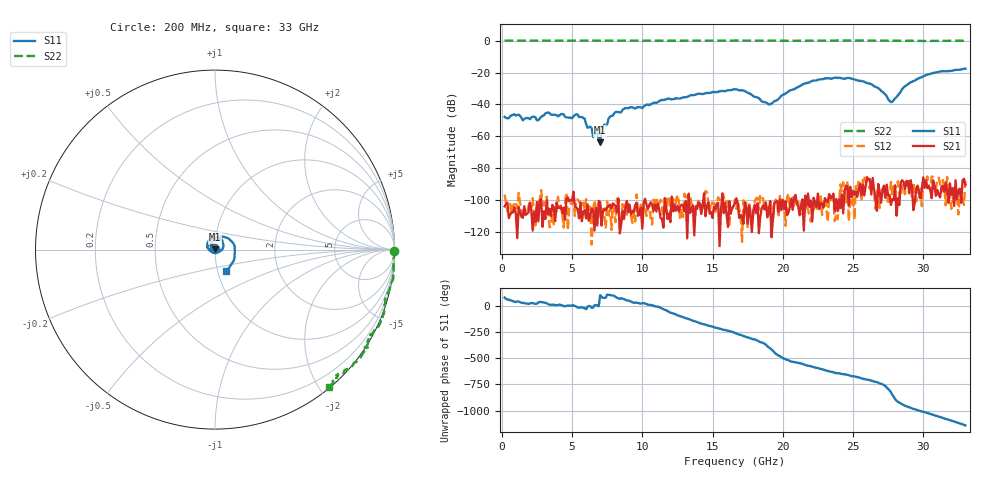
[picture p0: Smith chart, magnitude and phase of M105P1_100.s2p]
# GHZ S RI R 50
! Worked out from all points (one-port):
!   329 points, 200 MHz to 33 GHz, reference 50 ohm
!   lowest |S11| = -63.8 dB at 7 GHz (marker M1), VSWR 1.00, Z = 50 + j0.062 ohm
!   |S11| at or under -10 dB: start of sweep to end of sweep
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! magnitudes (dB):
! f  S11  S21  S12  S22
! 200 MHz  -47.8  -103.9  -96.5  0.0
! 2.6 GHz  -49.8  -113.3  -106.2  0.0
! 3.3 GHz  -45.1  -108.9  -106.0  0.0
! 5.7 GHz  -47.9  -113.2  -104.4  0.0
! 6.1 GHz  -54.6  -102.6  -111.7  0.0
! 6.4 GHz  -55.0  -105.2  -127.8  0.0
! 6.5 GHz  -60.3  -105.9  -106.1  0.0
! 6.8 GHz  -58.6  -115.9  -104.1  0.0
! 7 GHz  -63.8  -101.2  -102.5  0.0
! 7.1 GHz  -55.4  -115.9  -105.9  0.0
! 7.2 GHz  -53.6  -107.1  -105.9  0.0
! 8.1 GHz  -44.7  -103.7  -113.8  0.0
! 11.2 GHz  -38.0  -105.4  -102.0  -0.1
! 16.6 GHz  -30.5  -101.8  -99.6  0.1
! 19 GHz  -40.0  -107.7  -102.6  -0.1
! 22.1 GHz  -25.2  -113.3  -106.3  0.0
! 25.7 GHz  -25.5  -90.2  -87.4  0.1
! 26.8 GHz  -29.8  -89.8  -92.0  0.0
! 27.6 GHz  -37.8  -97.1  -100.6  0.0
! 29 GHz  -26.7  -95.6  -88.3  -0.1
! 30.2 GHz  -21.6  -87.6  -88.1  -0.2
! 33 GHz  -17.6  -90.3  -88.3  -0.1
